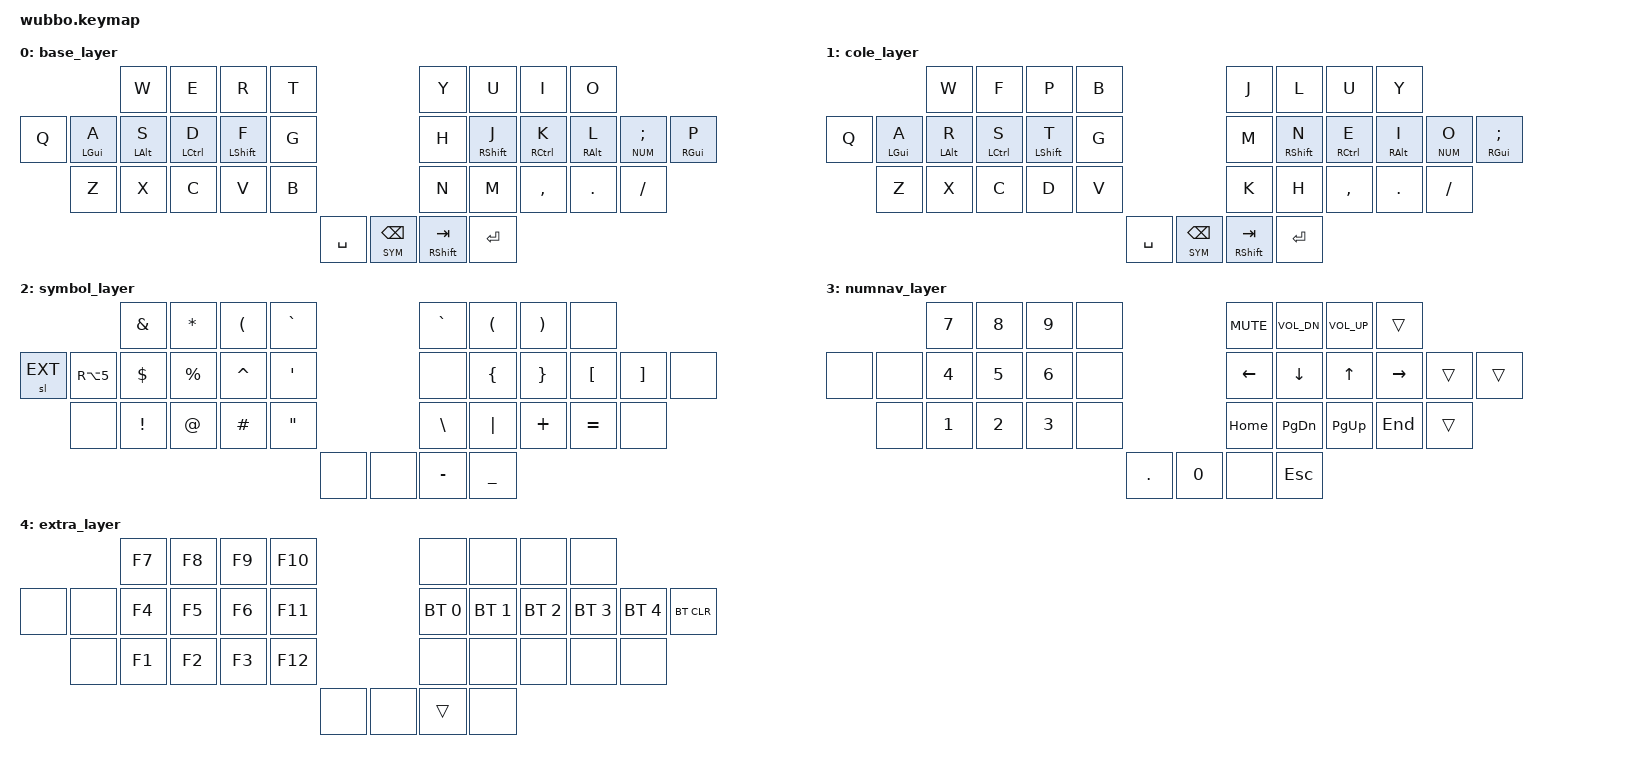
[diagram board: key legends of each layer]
/*
 * Copyright (c) 2022 The ZMK Contributors
 *
 * SPDX-License-Identifier: MIT
 */

#include <behaviors.dtsi>
#include <dt-bindings/zmk/keys.h>
#include <dt-bindings/zmk/bt.h>

#define BT0 &bt BT_SEL 0
#define BT1 &bt BT_SEL 1
#define BT2 &bt BT_SEL 2
#define BT3 &bt BT_SEL 3
#define BT4 &bt BT_SEL 4

#define BASE 0
#define COLE 1
#define SYM 2
#define NUM 3
#define EXT 4

#define EUR RA(N5)

&sl {
  release-after-ms = <60000>;
};

/ {

	behaviors {
        sp: space_modtap {
            compatible = "zmk,behavior-hold-tap";
            label = "SPACE_MODTAP";
            #binding-cells = <2>;
            tapping-term-ms = <400>;
            quick_tap_ms = <0>;
            flavor = "tap-preferred";
            bindings = <&kp>, <&kp>;
        };

        hm: homerow_mods {
            compatible = "zmk,behavior-hold-tap";
            label = "HOMEROW_MODS";
            #binding-cells = <2>;
            tapping_term_ms = <200>;
            flavor = "tap-preferred";
            bindings = <&kp>, <&kp>;
        };
    };

        combos {
        compatible = "zmk,combos";

        #define COMBO(NAME, BINDINGS, KEYPOS, LAYERS) \
          combo_##NAME { \
            bindings = <BINDINGS>; \
            key-positions = <KEYPOS>; \
            layers = <LAYERS>; \
          };

        /* 
          ╭───────────────────────╮          ╭───────────────────────╮
          │          0   1   2  3 │          │  4   5   6   7        │
          │  8   9  10  11  12 13 │          │ 14  15  16  17  18  19│
          │     20  21  22  23 24  ───╮ ╭────  25  26  27  28  29    │
          ╰─────────────────╮  30  31 │ │ 32  33 ╭───────────────────╯
                            ╰─────────╯ ╰────────╯           
        */

        COMBO(left_esc, &kp ESC, 1 2, BASE NUM COLE)
	      COMBO(dmenu, &kp LG(D), 31 32, BASE NUM SYM COLE)
	      COMBO(ptt, &kp F24, 12 31, BASE NUM SYM COLE)
	      COMBO(quit, &kp LG(LS(Q)), 0 31, BASE NUM SYM COLE)
      	COMBO(extra_layer, &mo EXT, 30 31, BASE NUM SYM COLE)
        COMBO(qwerty_layer, &tog BASE, 0 1 2, BASE NUM SYM COLE)
        COMBO(colemak_layer, &tog COLE, 4 5 6, BASE NUM SYM COLE)
    };

    keymap {
		compatible = "zmk,keymap";

		base_layer {
			bindings = <
                       &kp W      &kp E       &kp R        &kp T                                  &kp Y         &kp U        &kp I        &kp O       
&kp Q      &hm LGUI A  &hm LALT S &hm LCTRL D &hm LSHFT F  &kp G                                  &kp H         &hm RSHFT J  &hm RCTRL K  &hm RALT L  &lt NUM SEMI &hm RGUI P
           &kp Z       &kp X      &kp C       &kp V        &kp B                                  &kp N         &kp M        &kp COMMA    &kp DOT     &kp FSLH
						                                               &kp SPACE &lt SYM BSPC  &mt RSHFT TAB  &kp RET
			>;
       	};


		cole_layer {
			bindings = <
                      &kp W      &kp F       &kp P        &kp B                                  &kp J         &kp L        &kp U        &kp Y       
&kp Q     &hm LGUI A  &hm LALT R &hm LCTRL S &hm LSHFT T  &kp G                                  &kp M         &hm RSHFT N  &hm RCTRL E  &hm RALT I  &lt NUM O     &hm RGUI SEMI
          &kp Z       &kp X      &kp C       &kp D        &kp V                                  &kp K         &kp H        &kp COMMA    &kp DOT     &kp FSLH
 						                                              &kp SPACE &lt SYM BSPC  &mt RSHFT TAB  &kp RET
			>;
       	};

    

		symbol_layer {
			bindings = <
                      &kp AMPS   &kp ASTRK   &kp LPAR    &kp GRAVE                              &kp GRAVE   &kp LPAR     &kp RPAR     &none        
&sl EXT       &kp EUR   &kp DLLR   &kp PRCNT   &kp CARET   &kp SQT                              &none       &kp LBRC     &kp RBRC     &kp LBKT    &kp RBKT    &none 
            &none     &kp EXCL   &kp AT      &kp HASH    &kp DQT                                &kp BSLH    &kp PIPE     &kp PLUS     &kp EQUAL   &none
						                                             &none      &none            &kp MINUS  &kp UNDER
			>;
       	};

		numnav_layer {
			bindings = <
                      &kp N7     &kp N8      &kp N9      &none                                &kp C_MUTE   &kp C_VOL_DN &kp C_VOL_UP &trans       
&none        &none    &kp N4     &kp N5      &kp N6      &none                                &kp LEFT     &kp DOWN     &kp UP       &kp RIGHT   &trans      &trans
             &none    &kp N1     &kp N2      &kp N3      &none                                &kp HOME     &kp PG_DN    &kp PG_UP    &kp END     &trans
						                                             &kp DOT     &kp N0          &none    &kp ESC
			>;
       	};

		extra_layer {
			bindings = <
                      &kp F7     &kp F8      &kp F9      &kp F10                               &none        &none        &none        &none        
&none        &none    &kp F4     &kp F5      &kp F6      &kp F11                               BT0          BT1          BT2          BT3         BT4         &bt BT_CLR
             &none    &kp F1     &kp F2      &kp F3      &kp F12                               &none        &none        &none        &none       &none 
						                                             &none       &none           &trans    &none
			>;
       	};
    };
};
